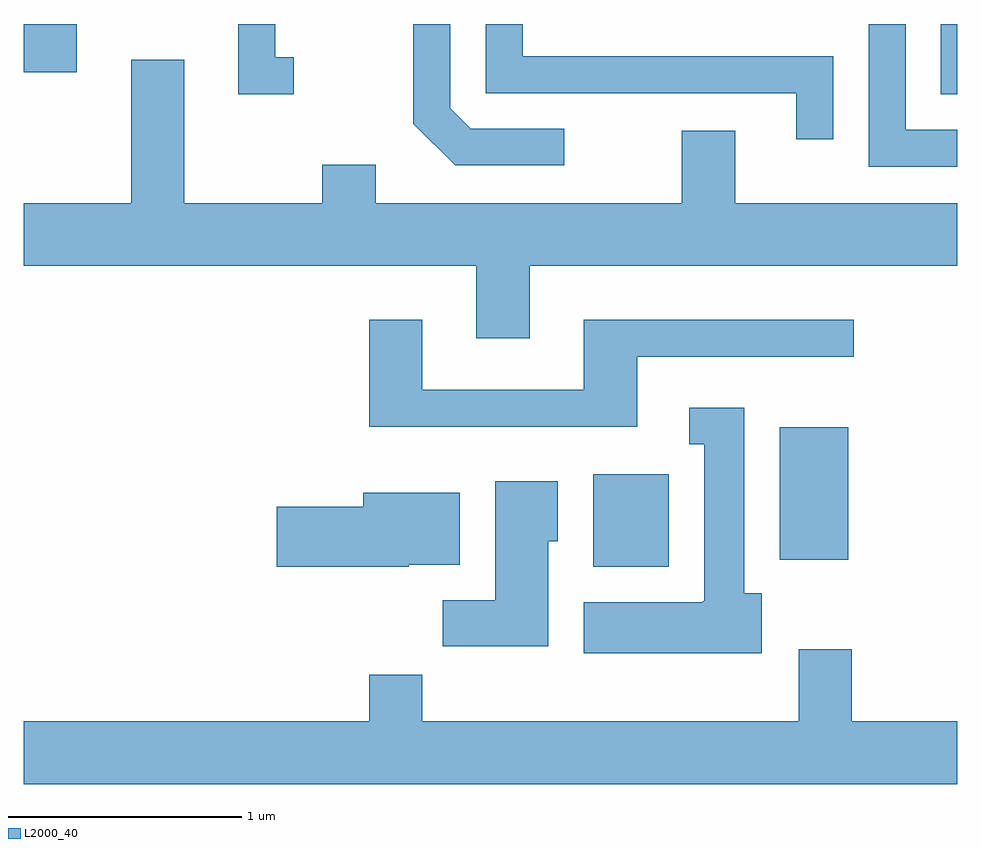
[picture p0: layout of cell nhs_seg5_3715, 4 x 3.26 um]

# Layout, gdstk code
import gdstk
lib = gdstk.Library(unit=1e-6, precision=1e-09)
def R(c, l, rs):  # rectangles x0, y0, x1, y1
    for r in rs: c.add(gdstk.rectangle(r[:2], r[2:], *l))
def P(c, l, *ps):  # polygons
    for p in ps: c.add(gdstk.Polygon(p, *l))
L2000_40 = (2000, 40)

nhs_seg5_3715 = lib.new_cell('nhs_seg5_3715')
R(nhs_seg5_3715, L2000_40, [(298.051,1437.746,298.374,1438.144), (298.851,1437.776,299.144,1438.344), (299.541,1439.771,299.611,1440.072), (295.611,1439.866,295.839,1440.072)])
P(nhs_seg5_3715, L2000_40, [(299.079,1439.934),(297.749,1439.934),(297.749,1440.072),(297.591,1440.072),(297.591,1439.776),(298.921,1439.776),(298.921,1439.578),(299.079,1439.578)],
  [(297.928,1439.624),(297.527,1439.624),(297.439,1439.712),(297.439,1440.072),(297.281,1440.072),(297.281,1439.644),(297.459,1439.466),(297.928,1439.466)],
  [(296.768,1439.929),(296.689,1439.929),(296.689,1440.072),(296.531,1440.072),(296.531,1439.771),(296.768,1439.771)],
  [(299.611,1439.619),(299.389,1439.619),(299.389,1440.072),(299.231,1440.072),(299.231,1439.461),(299.611,1439.461)],
  [(297.779,1439.036),(299.611,1439.036),(299.611,1439.304),(298.659,1439.304),(298.659,1439.614),(298.431,1439.614),(298.431,1439.304),(297.119,1439.304),(297.119,1439.469),(296.891,1439.469),(296.891,1439.304),(296.299,1439.304),(296.299,1439.919),(296.071,1439.919),(296.071,1439.304),(295.611,1439.304),(295.611,1439.036),(297.551,1439.036),(297.551,1438.726),(297.779,1438.726)],
  [(298.239,1438.646),(299.168,1438.646),(299.168,1438.804),(298.011,1438.804),(298.011,1438.504),(297.319,1438.504),(297.319,1438.804),(297.091,1438.804),(297.091,1438.346),(298.239,1438.346)],
  [(298.774,1437.634),(298.699,1437.634),(298.699,1438.429),(298.463,1438.429),(298.463,1438.271),(298.526,1438.271),(298.526,1437.6),(298.52,1437.6),(298.52,1437.594),(298.011,1437.594),(298.011,1437.376),(298.774,1437.376)],
  [(297.859,1437.856),(297.899,1437.856),(297.899,1438.114),(297.631,1438.114),(297.631,1437.604),(297.406,1437.604),(297.406,1437.406),(297.859,1437.406)],
  [(297.26,1437.756),(297.479,1437.756),(297.479,1438.064),(297.066,1438.064),(297.066,1438.004),(296.696,1438.004),(296.696,1437.746),(297.26,1437.746)],
  [(299.611,1437.084),(299.159,1437.084),(299.159,1437.394),(298.931,1437.394),(298.931,1437.084),(297.319,1437.084),(297.319,1437.284),(297.091,1437.284),(297.091,1437.084),(295.611,1437.084),(295.611,1436.816),(299.611,1436.816)])

lib.write_gds('nhs_seg5_3715.gds')
